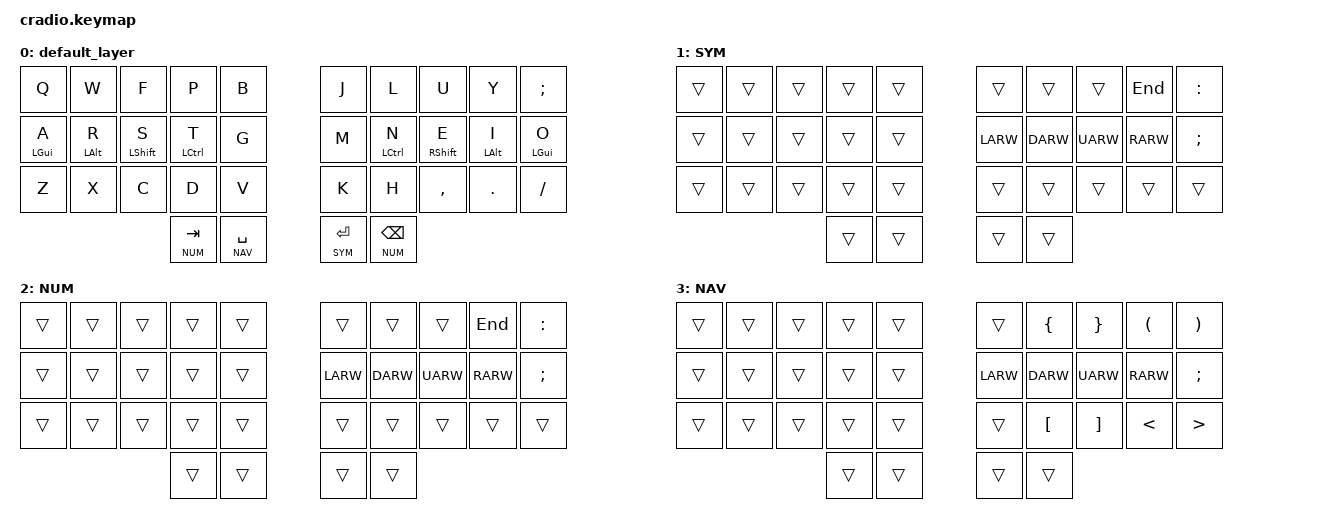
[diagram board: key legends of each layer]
// Copyright (c) 2022 The ZMK Contributors
// SPDX-License-Identifier: MIT

#include <behaviors.dtsi>
#include <dt-bindings/zmk/keys.h>
#include <dt-bindings/zmk/bt.h>

// Home row mods macro

#define default 0
#define NAV 1
#define NUM 2
#define SYM 3
#define FUN 4

&mt {
    flavor = "tap-preferred";
    tapping-term-ms = <200>;
};

/ {
    behaviors {
        ht: hold_tap {
            label = "hold_tap";
            compatible = "zmk,behavior-hold-tap";
            #binding-cells = <2>;
            flavor = "tap-preferred";
            tapping-term-ms = <220>;
            quick-tap-ms = <150>;
            global-quick-tap;
            bindings = <&kp>, <&kp>;
        };
    };

    conditional_layers {
        compatible = "zmk,conditional-layers";
        tri_layer {
            if-layers = <1 2>;
            then-layer = <3>;
        };
    };

    keymap {
        compatible = "zmk,keymap";
        default_layer {
            bindings = <
        //╭──────────┬──────────┬──────────┬──────────┬──────────╮   ╭──────────┬──────────┬──────────┬──────────┬──────────╮
        //│  Q       │  W       │  F       │  P       │  B       │   │  J       │  L       │  U       │  Y       │  ;       │
            &kp Q      &kp W      &kp F      &kp P      &kp B          &kp J      &kp L      &kp U      &kp Y      &kp SEMI
        //├──────────┼──────────┼──────────┼──────────┼──────────┤   ├──────────┼──────────┼──────────┼──────────┼──────────┤
        //│  A       │  R       │  S       │  T       │  G       │   │  M       │  N       │  E       │  I       │  O       │
           &mt LGUI A &mt LALT R &mt LSHIFT S &mt LCTRL T &kp G        &kp M    &mt LCTRL N &mt RSHIFT E &mt LALT I &mt LGUI O
        //├──────────┼──────────┼──────────┼──────────┼──────────┤   ├──────────┼──────────┼──────────┼──────────┼──────────┤
        //│  Z       │  X       │  C       │  D       │  V       │   │  K       │  H       │ ,        │ .        │ /        │
            &kp Z      &kp X      &kp C      &kp D      &kp V          &kp K      &kp H      &kp COMMA  &kp DOT    &kp FSLH
        //╰──────────┴──────────┴──────────┼──────────┼──────────┤   ├──────────┼──────────┼──────────┴──────────┴──────────╯
                                            &lt NUM TAB   &lt NAV SPACE     &lt SYM ENTER  &lt NUM BSPC
        //                                 ╰──────────┴──────────╯   ╰──────────┴──────────╯
            >;
        };
        SYM {
            bindings = <
        //╭──────────┬──────────┬──────────┬──────────┬──────────╮   ╭──────────┬──────────┬──────────┬──────────┬──────────╮
        //│          │          │          │          │          │   │          │ 7        │ 8        │ 9        │          │
            &trans     &trans     &trans     &trans     &trans         &trans  &trans  &trans  &kp END    &kp COLON
        //├──────────┼──────────┼──────────┼──────────┼──────────┤   ├──────────┼──────────┼──────────┼──────────┼──────────┤
        //│          │          │          │          │          │   │ LEFT     │ 4        │ 5        │ 6        │          │
            &trans     &trans     &trans     &trans     &trans         &kp LARW   &kp DARW   &kp UARW   &kp RARW   &kp SEMI
        //├──────────┼──────────┼──────────┼──────────┼──────────┤   ├──────────┼──────────┼──────────┼──────────┼──────────┤
        //│          │          │          │          │          │   │ 0        │  1       │ 2        │ 3        │          │
            &trans  &trans  &trans  &trans  &trans      &trans     &trans     &trans     &trans     &trans
        //╰──────────┴──────────┴──────────┼──────────┼──────────┤   ├──────────┼──────────┼──────────┴──────────┴──────────╯
                                            &trans    &trans        &trans     &trans
        //                                 ╰──────────┴──────────╯   ╰──────────┴──────────╯
            >;
        };
        NUM {
            bindings = <
        //╭──────────┬──────────┬──────────┬──────────┬──────────╮   ╭──────────┬──────────┬──────────┬──────────┬──────────╮
        //│          │          │          │          │          │   │          │ 7        │ 8        │ 9        │          │
            &trans     &trans     &trans     &trans     &trans         &trans     &trans     &trans     &kp END    &kp COLON
        //├──────────┼──────────┼──────────┼──────────┼──────────┤   ├──────────┼──────────┼──────────┼──────────┼──────────┤
        //│          │          │          │          │          │   │ LEFT     │ 4        │ 5        │ 6        │          │
            &trans     &trans     &trans     &trans     &trans         &kp LARW   &kp DARW   &kp UARW   &kp RARW   &kp SEMI
        //├──────────┼──────────┼──────────┼──────────┼──────────┤   ├──────────┼──────────┼──────────┼──────────┼──────────┤
        //│          │          │          │          │          │   │ 0        │  1       │ 2        │ 3        │          │
            &trans  &trans  &trans  &trans  &trans      &trans     &trans     &trans     &trans     &trans
        //╰──────────┴──────────┴──────────┼──────────┼──────────┤   ├──────────┼──────────┼──────────┴──────────┴──────────╯
                                            &trans    &trans        &trans     &trans
        //                                 ╰──────────┴──────────╯   ╰──────────┴──────────╯
            >;
        };

        NAV {
            bindings = <
        //╭──────────┬──────────┬──────────┬──────────┬──────────╮   ╭──────────┬──────────┬──────────┬──────────┬──────────╮
        //│          │          │          │          │          │   │          │ {        │ }        │ (        │  )       │
            &trans  &trans  &trans  &trans  &trans      &trans  &kp LBRC   &kp RBRC   &kp LPAR   &kp RPAR
        //├──────────┼──────────┼──────────┼──────────┼──────────┤   ├──────────┼──────────┼──────────┼──────────┼──────────┤
        //│          │          │          │          │          │   │ LEFT     │ DOWN     │ UP       │ RIGHT    │  ;       │
            &trans  &trans  &trans  &trans  &trans      &kp LARW   &kp DARW   &kp UARW   &kp RARW   &kp SEMI
        //├──────────┼──────────┼──────────┼──────────┼──────────┤   ├──────────┼──────────┼──────────┼──────────┼──────────┤
        //│          │          │          │          │          │   │          │  [       │ ]        │ <        │ >        │
            &trans  &trans  &trans  &trans  &trans      &trans     &kp LBKT   &kp RBKT   &kp LT     &kp GT
        //╰──────────┴──────────┴──────────┼──────────┼──────────┤   ├──────────┼──────────┼──────────┴──────────┴──────────╯
                                            &trans    &trans        &trans     &trans
        //                                 ╰──────────┴──────────╯   ╰──────────┴──────────╯
            >;
        };

    };
};
